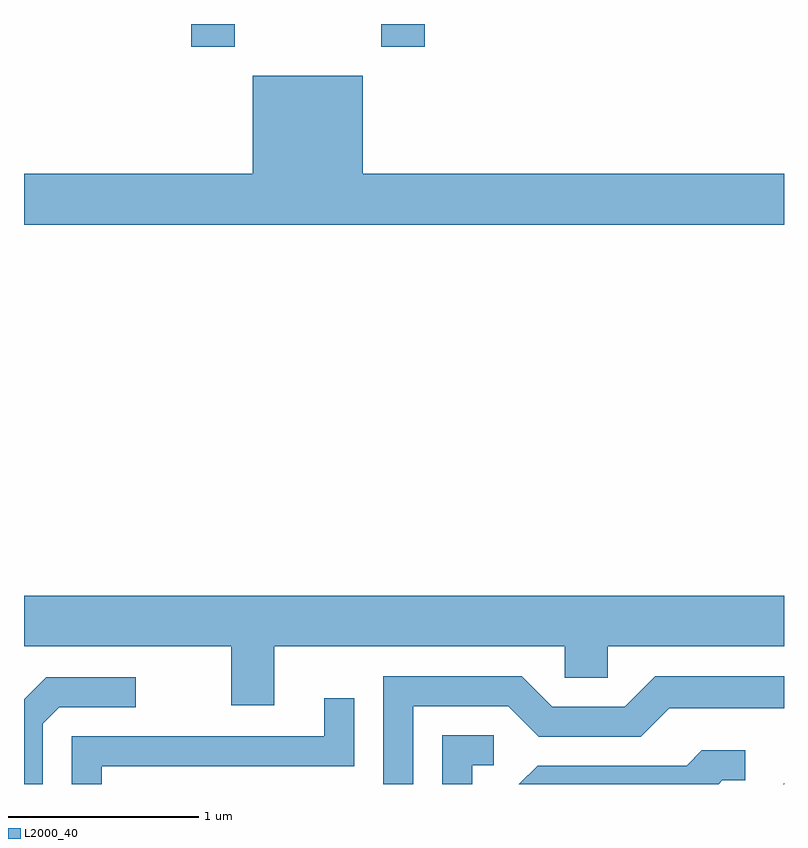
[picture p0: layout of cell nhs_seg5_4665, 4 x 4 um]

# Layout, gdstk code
import gdstk
lib = gdstk.Library(unit=1e-6, precision=1e-09)
def R(c, l, rs):  # rectangles x0, y0, x1, y1
    for r in rs: c.add(gdstk.rectangle(r[:2], r[2:], *l))
def P(c, l, *ps):  # polygons
    for p in ps: c.add(gdstk.Polygon(p, *l))
L2000_40 = (2000, 40)

nhs_seg5_4665 = lib.new_cell('nhs_seg5_4665')
R(nhs_seg5_4665, L2000_40, [(324.491,1459.951,324.719,1460.072), (325.491,1459.951,325.719,1460.072)])
P(nhs_seg5_4665, L2000_40, [(327.611,1459.284),(325.394,1459.284),(325.394,1459.799),(324.816,1459.799),(324.816,1459.284),(323.611,1459.284),(323.611,1459.016),(327.611,1459.016)],
  [(324.929,1456.796),(326.456,1456.796),(326.456,1456.631),(326.684,1456.631),(326.684,1456.796),(327.611,1456.796),(327.611,1457.064),(323.611,1457.064),(323.611,1456.796),(324.701,1456.796),(324.701,1456.486),(324.929,1456.486)],
  [(325.659,1456.481),(326.159,1456.481),(326.319,1456.321),(326.857,1456.321),(327.007,1456.471),(327.611,1456.471),(327.611,1456.639),(326.934,1456.639),(326.774,1456.479),(326.392,1456.479),(326.232,1456.639),(325.501,1456.639),(325.501,1456.072),(325.659,1456.072)],
  [(323.709,1456.389),(323.797,1456.476),(324.198,1456.476),(324.198,1456.634),(323.729,1456.634),(323.611,1456.517),(323.611,1456.072),(323.709,1456.072)],
  [(324.019,1456.166),(325.349,1456.166),(325.349,1456.523),(325.191,1456.523),(325.191,1456.324),(323.861,1456.324),(323.861,1456.072),(324.019,1456.072)],
  [(325.969,1456.171),(326.083,1456.171),(326.083,1456.329),(325.811,1456.329),(325.811,1456.072),(325.969,1456.072)],
  [(327.287,1456.091),(327.408,1456.091),(327.408,1456.249),(327.179,1456.249),(327.099,1456.169),(326.314,1456.169),(326.216,1456.072),(327.268,1456.072)],
  [(327.611,1456.077),(327.606,1456.072),(327.611,1456.072)])

lib.write_gds('nhs_seg5_4665.gds')
